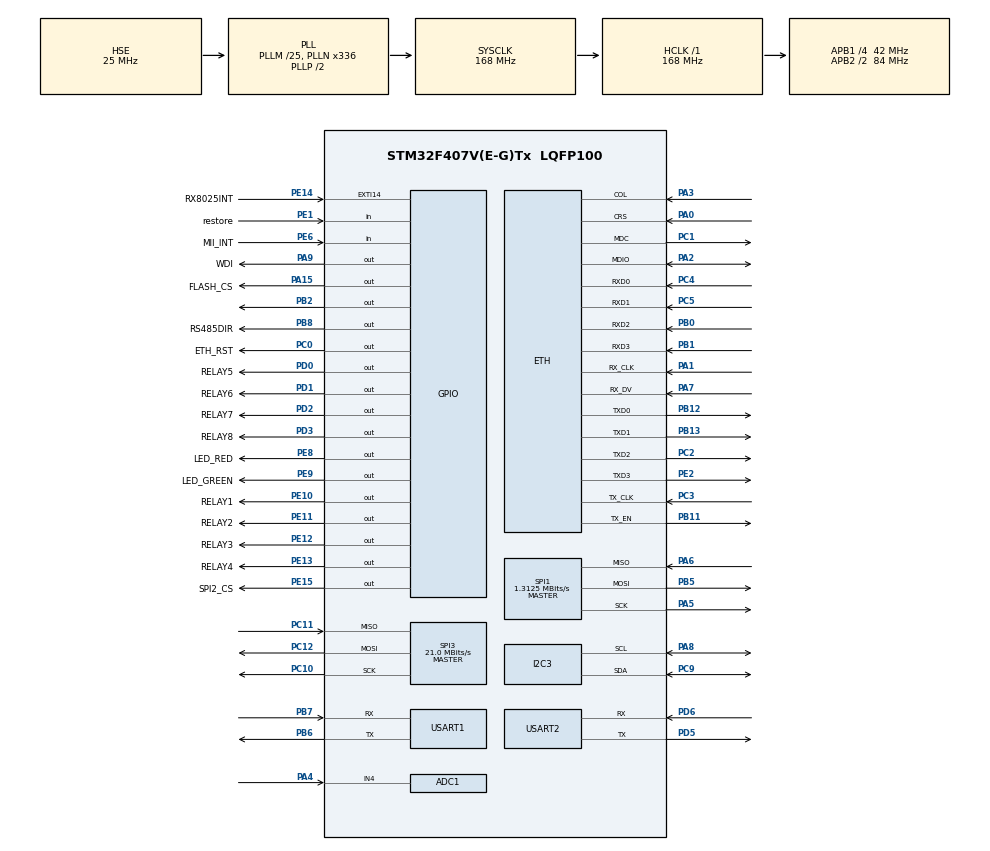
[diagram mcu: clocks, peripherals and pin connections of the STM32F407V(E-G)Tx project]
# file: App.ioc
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ADC1.Channel-0\#ChannelRegularConversion=ADC_CHANNEL_4
ADC1.NbrOfConversionFlag=1
ADC1.Rank-0\#ChannelRegularConversion=1
ADC1.SamplingTime-0\#ChannelRegularConversion=ADC_SAMPLETIME_3CYCLES
ADC1.master=1
Dma.I2C3_RX.3.Direction=DMA_PERIPH_TO_MEMORY
Dma.I2C3_RX.3.FIFOMode=DMA_FIFOMODE_DISABLE
Dma.I2C3_RX.3.Instance=DMA1_Stream2
Dma.I2C3_RX.3.MemDataAlignment=DMA_MDATAALIGN_BYTE
Dma.I2C3_RX.3.MemInc=DMA_MINC_ENABLE
Dma.I2C3_RX.3.Mode=DMA_NORMAL
Dma.I2C3_RX.3.PeriphDataAlignment=DMA_PDATAALIGN_BYTE
Dma.I2C3_RX.3.PeriphInc=DMA_PINC_DISABLE
Dma.I2C3_RX.3.Priority=DMA_PRIORITY_MEDIUM
Dma.I2C3_TX.2.Direction=DMA_MEMORY_TO_PERIPH
Dma.I2C3_TX.2.FIFOMode=DMA_FIFOMODE_DISABLE
Dma.I2C3_TX.2.Instance=DMA1_Stream4
Dma.I2C3_TX.2.MemDataAlignment=DMA_MDATAALIGN_BYTE
Dma.I2C3_TX.2.MemInc=DMA_MINC_ENABLE
Dma.I2C3_TX.2.Mode=DMA_NORMAL
Dma.I2C3_TX.2.PeriphDataAlignment=DMA_PDATAALIGN_BYTE
Dma.I2C3_TX.2.PeriphInc=DMA_PINC_DISABLE
Dma.I2C3_TX.2.Priority=DMA_PRIORITY_MEDIUM
Dma.Request0=USART1_RX
Dma.Request1=USART1_TX
Dma.Request2=I2C3_TX
Dma.Request3=I2C3_RX
Dma.Request4=SPI3_TX
Dma.Request5=SPI3_RX
Dma.SPI3_RX.5.Direction=DMA_PERIPH_TO_MEMORY
Dma.SPI3_RX.5.FIFOMode=DMA_FIFOMODE_DISABLE
Dma.SPI3_RX.5.Instance=DMA1_Stream0
Dma.SPI3_RX.5.MemDataAlignment=DMA_MDATAALIGN_BYTE
Dma.SPI3_RX.5.MemInc=DMA_MINC_ENABLE
Dma.SPI3_RX.5.Mode=DMA_NORMAL
Dma.SPI3_RX.5.PeriphDataAlignment=DMA_PDATAALIGN_BYTE
Dma.SPI3_RX.5.PeriphInc=DMA_PINC_DISABLE
Dma.SPI3_RX.5.Priority=DMA_PRIORITY_LOW
Dma.SPI3_TX.4.Direction=DMA_MEMORY_TO_PERIPH
Dma.SPI3_TX.4.FIFOMode=DMA_FIFOMODE_DISABLE
Dma.SPI3_TX.4.Instance=DMA1_Stream5
Dma.SPI3_TX.4.MemDataAlignment=DMA_MDATAALIGN_BYTE
Dma.SPI3_TX.4.MemInc=DMA_MINC_ENABLE
Dma.SPI3_TX.4.Mode=DMA_NORMAL
Dma.SPI3_TX.4.PeriphDataAlignment=DMA_PDATAALIGN_BYTE
Dma.SPI3_TX.4.PeriphInc=DMA_PINC_DISABLE
Dma.SPI3_TX.4.Priority=DMA_PRIORITY_LOW
Dma.USART1_RX.0.Direction=DMA_PERIPH_TO_MEMORY
Dma.USART1_RX.0.FIFOMode=DMA_FIFOMODE_DISABLE
Dma.USART1_RX.0.Instance=DMA2_Stream2
Dma.USART1_RX.0.MemDataAlignment=DMA_MDATAALIGN_BYTE
Dma.USART1_RX.0.MemInc=DMA_MINC_ENABLE
Dma.USART1_RX.0.Mode=DMA_NORMAL
Dma.USART1_RX.0.PeriphDataAlignment=DMA_PDATAALIGN_BYTE
Dma.USART1_RX.0.PeriphInc=DMA_PINC_DISABLE
Dma.USART1_RX.0.Priority=DMA_PRIORITY_LOW
Dma.USART1_TX.1.Direction=DMA_MEMORY_TO_PERIPH
Dma.USART1_TX.1.FIFOMode=DMA_FIFOMODE_DISABLE
Dma.USART1_TX.1.Instance=DMA2_Stream7
Dma.USART1_TX.1.MemDataAlignment=DMA_MDATAALIGN_BYTE
Dma.USART1_TX.1.MemInc=DMA_MINC_ENABLE
Dma.USART1_TX.1.Mode=DMA_NORMAL
Dma.USART1_TX.1.PeriphDataAlignment=DMA_PDATAALIGN_BYTE
Dma.USART1_TX.1.PeriphInc=DMA_PINC_DISABLE
Dma.USART1_TX.1.Priority=DMA_PRIORITY_LOW
ETH.MACAddr=00\:80\:E1\:00\:00\:50
ETH.MediaInterface=ETH_MEDIA_INTERFACE_MII
ETH.PHY_SR=0x10
FATFS._MAX_SS=4096
FREERTOS.BinarySemaphores01=TIMEBinarySem,Dynamic,NULL
FREERTOS.INCLUDE_vTaskDelayUntil=1
FREERTOS.MEMORY_ALLOCATION=0
FREERTOS.Mutexes01=MBholdingMutex,Dynamic,NULL;sockMutex,Dynamic,NULL
FREERTOS.Queues01=recvQueue,4,uint16_t,0,Dynamic,NULL,NULL;MBQueue,4,uint16_t,0,Dynamic,NULL,NULL;SockQueue,2,struct netconn,0,Dynamic,NULL,NULL;Rs485Queue,4,uint16_t,0,Dynamic,NULL,NULL
FREERTOS.Tasks01=defaultTask,2,256,StartDefaultTask,Default,NULL,Dynamic,NULL,NULL;monitorTask,-1,128,Monitor,Default,NULL,Dynamic,NULL,NULL;periodTask,0,512,Period,Default,NULL,Dynamic,NULL,NULL;MQTTTask,1,512,MQTT_clien,Default,NULL,Dynamic,NULL,NULL;MQTTCallTask,0,256,MQTTCall,Default,NULL,Dynamic,NULL,NULL;upgreadTask,2,2048,Upgread,Default,NULL,Dynamic,NULL,NULL;FindMeTask,1,512,FindMe,Default,NULL,Dynamic,NULL,NULL;serverTask,1,512,Sockserver,Default,NULL,Dynamic,NULL,NULL;sockconnTask,0,384,sockconnection,Default,NULL,Dynamic,NULL,NULL;sock485Task,1,512,sock485,Default,NULL,Dynamic,NULL,NULL
FREERTOS.configTOTAL_HEAP_SIZE=61440
I2C3.I2C_Mode=I2C_Fast
IWDG.Prescaler=IWDG_PRESCALER_64
IWDG.Reload=3000
LWIP.GATEWAY_ADDRESS=192.168.001.001
LWIP.IP_ADDRESS=192.168.001.090
LWIP.LWIP_DBG_MIN_LEVEL=LWIP_DBG_LEVEL_ALL
LWIP.LWIP_DHCP=1
LWIP.LWIP_DNS=1
LWIP.LWIP_NETIF_LINK_CALLBACK=1
LWIP.LWIP_SOCKET_OFFSET=0
LWIP.MEM_SIZE=3200
LWIP.NETMASK_ADDRESS=255.255.255.000
LWIP.Version=v2.0.3_Cube
Mcu.Family=STM32F4
Mcu.Name=STM32F407V(E-G)Tx
Mcu.Package=LQFP100
NVIC.DMA1_Stream0_IRQn=true\:6\:0\:true\:false\:true\:true\:false
NVIC.DMA1_Stream2_IRQn=true\:7\:0\:true\:false\:true\:true\:false
NVIC.DMA1_Stream4_IRQn=true\:7\:0\:true\:false\:true\:true\:false
NVIC.DMA1_Stream5_IRQn=true\:6\:0\:true\:false\:true\:true\:false
NVIC.DMA2_Stream2_IRQn=true\:6\:0\:true\:false\:true\:true\:false
NVIC.DMA2_Stream7_IRQn=true\:6\:0\:true\:false\:true\:true\:false
NVIC.ETH_IRQn=true\:5\:0\:false\:false\:true\:true\:false
NVIC.EXTI15_10_IRQn=true\:8\:0\:true\:false\:true\:true\:true
NVIC.I2C3_ER_IRQn=true\:5\:0\:false\:false\:true\:true\:true
NVIC.I2C3_EV_IRQn=true\:5\:0\:false\:false\:true\:true\:true
NVIC.PriorityGroup=NVIC_PRIORITYGROUP_4
NVIC.TIM4_IRQn=true\:0\:0\:false\:false\:true\:false\:false
NVIC.TimeBase=TIM4_IRQn
NVIC.TimeBaseIP=TIM4
NVIC.USART1_IRQn=true\:6\:0\:true\:false\:true\:true\:true
PA0-WKUP.Mode=MII
PA0-WKUP.Signal=ETH_CRS
PA1.Mode=MII
PA1.Signal=ETH_RX_CLK
PA13.Mode=Serial_Wire
PA13.Signal=SYS_JTMS-SWDIO
PA14.Mode=Serial_Wire
PA14.Signal=SYS_JTCK-SWCLK
PA15.GPIO_Label=FLASH_CS
PA15.GPIO_Speed=GPIO_SPEED_FREQ_HIGH
PA15.Signal=GPIO_Output
PA2.Mode=MII
PA2.Signal=ETH_MDIO
PA3.Mode=MII
PA3.Signal=ETH_COL
PA4.Signal=ADCx_IN4
PA5.Mode=Full_Duplex_Master
PA5.Signal=SPI1_SCK
PA6.Mode=Full_Duplex_Master
PA6.Signal=SPI1_MISO
PA7.Mode=MII
PA7.Signal=ETH_RX_DV
PA8.Mode=I2C
PA8.Signal=I2C3_SCL
PA9.GPIO_Label=WDI
PA9.Signal=GPIO_Output
PB0.Mode=MII
PB0.Signal=ETH_RXD2
PB1.Mode=MII
PB1.Signal=ETH_RXD3
PB11.Mode=MII
PB11.Signal=ETH_TX_EN
PB12.Mode=MII
PB12.Signal=ETH_TXD0
PB13.Mode=MII
PB13.Signal=ETH_TXD1
PB2.Signal=GPIO_Output
PB5.Mode=Full_Duplex_Master
PB5.Signal=SPI1_MOSI
PB6.Mode=Asynchronous
PB6.Signal=USART1_TX
PB7.Mode=Asynchronous
PB7.Signal=USART1_RX
PB8.GPIO_Label=RS485DIR
PB8.GPIO_Speed=GPIO_SPEED_FREQ_MEDIUM
PB8.Signal=GPIO_Output
PC0.GPIO_Label=ETH_RST
PC0.Signal=GPIO_Output
PC1.Mode=MII
PC1.Signal=ETH_MDC
PC10.Mode=Full_Duplex_Master
PC10.Signal=SPI3_SCK
PC11.Mode=Full_Duplex_Master
PC11.Signal=SPI3_MISO
PC12.Mode=Full_Duplex_Master
PC12.Signal=SPI3_MOSI
PC2.Mode=MII
PC2.Signal=ETH_TXD2
PC3.Mode=MII
PC3.Signal=ETH_TX_CLK
PC4.Mode=MII
PC4.Signal=ETH_RXD0
PC5.Mode=MII
PC5.Signal=ETH_RXD1
PC9.Mode=I2C
PC9.Signal=I2C3_SDA
PD0.GPIO_Label=RELAY5
PD0.Signal=GPIO_Output
PD1.GPIO_Label=RELAY6
PD1.Signal=GPIO_Output
PD2.GPIO_Label=RELAY7
PD2.Signal=GPIO_Output
PD3.GPIO_Label=RELAY8
PD3.Signal=GPIO_Output
PD5.Mode=Asynchronous
PD5.Signal=USART2_TX
PD6.Mode=Asynchronous
PD6.Signal=USART2_RX
PE1.GPIO_Label=restore
PE1.Signal=GPIO_Input
PE10.GPIO_Label=RELAY1
PE10.Signal=GPIO_Output
PE11.GPIO_Label=RELAY2
PE11.Signal=GPIO_Output
PE12.GPIO_Label=RELAY3
PE12.Signal=GPIO_Output
PE13.GPIO_Label=RELAY4
PE13.Signal=GPIO_Output
PE14.GPIO_Label=RX8025INT
PE14.GPIO_ModeDefaultEXTI=GPIO_MODE_IT_FALLING
PE14.GPIO_PuPd=GPIO_PULLUP
PE14.Signal=GPXTI14
PE15.GPIO_Label=SPI2_CS
PE15.GPIO_Speed=GPIO_SPEED_FREQ_HIGH
PE15.Signal=GPIO_Output
PE2.Mode=MII
PE2.Signal=ETH_TXD3
PE6.GPIO_Label=MII_INT
PE6.Signal=GPIO_Input
PE8.GPIO_Label=LED_RED
PE8.Signal=GPIO_Output
PE9.GPIO_Label=LED_GREEN
PE9.Signal=GPIO_Output
PH0-OSC_IN.Mode=HSE-External-Oscillator
PH0-OSC_IN.Signal=RCC_OSC_IN
PH1-OSC_OUT.Mode=HSE-External-Oscillator
PH1-OSC_OUT.Signal=RCC_OSC_OUT
ProjectManager.HeapSize=0x6000
ProjectManager.StackSize=0x6000
ProjectManager.TargetToolchain=Other Toolchains (GPDSC)
RCC.48MHZClocksFreq_Value=84000000
RCC.AHBFreq_Value=168000000
RCC.APB1CLKDivider=RCC_HCLK_DIV4
RCC.APB1Freq_Value=42000000
RCC.APB1TimFreq_Value=84000000
RCC.APB2CLKDivider=RCC_HCLK_DIV2
RCC.APB2Freq_Value=84000000
RCC.APB2TimFreq_Value=168000000
RCC.CortexFreq_Value=168000000
RCC.HCLKFreq_Value=168000000
RCC.HSE_VALUE=25000000
RCC.HSI_VALUE=16000000
RCC.LSE_VALUE=32768
RCC.PLLM=25
RCC.PLLN=336
RCC.PLLSourceVirtual=RCC_PLLSOURCE_HSE
RCC.SYSCLKFreq_VALUE=168000000
RCC.SYSCLKSource=RCC_SYSCLKSOURCE_PLLCLK
RCC.VCOOutputFreq_Value=336000000
SH.ADCx_IN4.0=ADC1_IN4,IN4
SPI1.BaudRatePrescaler=SPI_BAUDRATEPRESCALER_64
SPI1.CLKPhase=SPI_PHASE_2EDGE
SPI1.CalculateBaudRate=1.3125 MBits/s
SPI1.DataSize=SPI_DATASIZE_16BIT
SPI1.Direction=SPI_DIRECTION_2LINES
SPI1.Mode=SPI_MODE_MASTER
SPI1.VirtualType=VM_MASTER
SPI3.CalculateBaudRate=21.0 MBits/s
SPI3.Direction=SPI_DIRECTION_2LINES
SPI3.Mode=SPI_MODE_MASTER
SPI3.VirtualType=VM_MASTER
USART1.VirtualMode=VM_ASYNC
USART2.VirtualMode=VM_ASYNC
VP_CRC_VS_CRC.Mode=CRC_Activate
VP_FATFS_VS_Generic.Mode=User_defined
VP_FREERTOS_VS_ENABLE.Mode=Enabled
VP_IWDG_VS_IWDG.Mode=IWDG_Activate
VP_LWIP_VS_Enabled.Mode=Enabled
VP_SYS_VS_tim4.Mode=TIM4
board=MBcontrol

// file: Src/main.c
/**
  ******************************************************************************
  * @file           : main.c
  * @brief          : Main program body
  ******************************************************************************
  * This notice applies to any and all portions of this file
  * that are not between comment pairs USER CODE BEGIN and
  * USER CODE END. Other portions of this file, whether
  * inserted by the user or by software development tools
  * are owned by their respective copyright owners.
  *
  * Copyright (c) 2018 STMicroelectronics International N.V.
  * All rights reserved.
  *
  * Redistribution and use in source and binary forms, with or without
  * modification, are permitted, provided that the following conditions are met:
  *
  * 1. Redistribution of source code must retain the above copyright notice,
  *    this list of conditions and the following disclaimer.
  * 2. Redistributions in binary form must reproduce the above copyright notice,
  *    this list of conditions and the following disclaimer in the documentation
  *    and/or other materials provided with the distribution.
  * 3. Neither the name of STMicroelectronics nor the names of other
  *    contributors to this software may be used to endorse or promote products
  *    derived from this software without specific written permission.
  * 4. This software, including modifications and/or derivative works of this
  *    software, must execute solely and exclusively on microcontroller or
  *    microprocessor devices manufactured by or for STMicroelectronics.
  * 5. Redistribution and use of this software other than as permitted under
  *    this license is void and will automatically terminate your rights under
  *    this license.
  *
  * THIS SOFTWARE IS PROVIDED BY STMICROELECTRONICS AND CONTRIBUTORS "AS IS"
  * AND ANY EXPRESS, IMPLIED OR STATUTORY WARRANTIES, INCLUDING, BUT NOT
  * LIMITED TO, THE IMPLIED WARRANTIES OF MERCHANTABILITY, FITNESS FOR A
  * PARTICULAR PURPOSE AND NON-INFRINGEMENT OF THIRD PARTY INTELLECTUAL PROPERTY
  * RIGHTS ARE DISCLAIMED TO THE FULLEST EXTENT PERMITTED BY LAW. IN NO EVENT
  * SHALL STMICROELECTRONICS OR CONTRIBUTORS BE LIABLE FOR ANY DIRECT, INDIRECT,
  * INCIDENTAL, SPECIAL, EXEMPLARY, OR CONSEQUENTIAL DAMAGES (INCLUDING, BUT NOT
  * LIMITED TO, PROCUREMENT OF SUBSTITUTE GOODS OR SERVICES; LOSS OF USE, DATA,
  * OR PROFITS; OR BUSINESS INTERRUPTION) HOWEVER CAUSED AND ON ANY THEORY OF
  * LIABILITY, WHETHER IN CONTRACT, STRICT LIABILITY, OR TORT (INCLUDING
  * NEGLIGENCE OR OTHERWISE) ARISING IN ANY WAY OUT OF THE USE OF THIS SOFTWARE,
  * EVEN IF ADVISED OF THE POSSIBILITY OF SUCH DAMAGE.
  *
  ******************************************************************************
  */
#include "main.h"
#include "stm32f4xx_hal.h"
#include "cmsis_os.h"
#include "adc.h"
#include "crc.h"
#include "dma.h"
#include "fatfs.h"
#include "i2c.h"
#include "iwdg.h"
#include "lwip.h"
#include "spi.h"
#include "usart.h"
#include "gpio.h"

/* USER CODE BEGIN Includes */
#include "w25qxx.h"
/* USER CODE END Includes */

/* USER CODE BEGIN PV */
/* Private variables ---------------------------------------------------------*/

/* USER CODE END PV */

void SystemClock_Config(void);
void MX_FREERTOS_Init(void);

/* USER CODE BEGIN PFP */
/* Private function prototypes -----------------------------------------------*/

/* USER CODE END PFP */

/* USER CODE BEGIN 0 */
#ifdef __GNUC__
/* With GCC, small printf (option LD Linker->Libraries->Small printf
   set to 'Yes') calls __io_putchar() */
#define PUTCHAR_PROTOTYPE int __io_putchar(int ch)
#else
#define PUTCHAR_PROTOTYPE int fputc(int ch, FILE *f)
#endif /* __GNUC__ */
/* USER CODE END 0 */

int main(void)
{
  /* USER CODE BEGIN 1 */
	__set_PRIMASK(0);
  /* USER CODE END 1 */

  /* MCU Configuration----------------------------------------------------------*/

  /* Reset of all peripherals, Initializes the Flash interface and the Systick. */
  HAL_Init();

  /* Configure the system clock */
  SystemClock_Config();

  /* Initialize all configured peripherals */
  MX_GPIO_Init();
  MX_DMA_Init();
  MX_USART1_UART_Init();
  MX_CRC_Init();
  MX_I2C3_Init();
  MX_USART2_UART_Init();
  MX_SPI3_Init();
  MX_SPI1_Init();
  MX_ADC1_Init();
  /* USER CODE BEGIN 2 */
//	HAL_GPIO_TogglePin(LED_RED_GPIO_Port, LED_RED_Pin);
//	HAL_Delay(100);
	HAL_GPIO_WritePin(ETH_RST_GPIO_Port, ETH_RST_Pin, GPIO_PIN_SET);
	printf("begin\r\n");
	W25QXX_Init();

  /* USER CODE END 2 */

  /* Call init function for freertos objects (in freertos.c) */
  MX_FREERTOS_Init();

  /* Start scheduler */
  osKernelStart();

  /* We should never get here as control is now taken by the scheduler */

  /* Infinite loop */
  while (1)
  {

  }

}

void SystemClock_Config(void)
{

  RCC_OscInitTypeDef RCC_OscInitStruct;
  RCC_ClkInitTypeDef RCC_ClkInitStruct;

    /**Configure the main internal regulator output voltage
    */
  __HAL_RCC_PWR_CLK_ENABLE();

  __HAL_PWR_VOLTAGESCALING_CONFIG(PWR_REGULATOR_VOLTAGE_SCALE1);

    /**Initializes the CPU, AHB and APB busses clocks
    */
  RCC_OscInitStruct.OscillatorType = RCC_OSCILLATORTYPE_LSI|RCC_OSCILLATORTYPE_HSE;
  RCC_OscInitStruct.HSEState = RCC_HSE_ON;
  RCC_OscInitStruct.LSIState = RCC_LSI_ON;
  RCC_OscInitStruct.PLL.PLLState = RCC_PLL_ON;
  RCC_OscInitStruct.PLL.PLLSource = RCC_PLLSOURCE_HSE;
  RCC_OscInitStruct.PLL.PLLM = 25;
  RCC_OscInitStruct.PLL.PLLN = 336;
  RCC_OscInitStruct.PLL.PLLP = RCC_PLLP_DIV2;
  RCC_OscInitStruct.PLL.PLLQ = 4;
  if (HAL_RCC_OscConfig(&RCC_OscInitStruct) != HAL_OK)
  {
    _Error_Handler(__FILE__, __LINE__);
  }

    /**Initializes the CPU, AHB and APB busses clocks
    */
  RCC_ClkInitStruct.ClockType = RCC_CLOCKTYPE_HCLK|RCC_CLOCKTYPE_SYSCLK
                              |RCC_CLOCKTYPE_PCLK1|RCC_CLOCKTYPE_PCLK2;
  RCC_ClkInitStruct.SYSCLKSource = RCC_SYSCLKSOURCE_PLLCLK;
  RCC_ClkInitStruct.AHBCLKDivider = RCC_SYSCLK_DIV1;
  RCC_ClkInitStruct.APB1CLKDivider = RCC_HCLK_DIV4;
  RCC_ClkInitStruct.APB2CLKDivider = RCC_HCLK_DIV2;

  if (HAL_RCC_ClockConfig(&RCC_ClkInitStruct, FLASH_LATENCY_5) != HAL_OK)
  {
    _Error_Handler(__FILE__, __LINE__);
  }

    /**Configure the Systick interrupt time
    */
  HAL_SYSTICK_Config(HAL_RCC_GetHCLKFreq()/1000);

    /**Configure the Systick
    */
  HAL_SYSTICK_CLKSourceConfig(SYSTICK_CLKSOURCE_HCLK);

  /* SysTick_IRQn interrupt configuration */
  HAL_NVIC_SetPriority(SysTick_IRQn, 15, 0);
}

/* USER CODE BEGIN 4 */
/**
  * @brief  Retargets the C library printf function to the USART.
  * @param  None
  * @retval None
  */
PUTCHAR_PROTOTYPE
{
	/* Place your implementation of fputc here */
	/* e.g. write a character to the USART3 and Loop until the end of transmission */
	HAL_GPIO_WritePin(RS485DIR_GPIO_Port, RS485DIR_Pin, GPIO_PIN_SET);
	////	while (HAL_UART_GetState(&huart1) != HAL_UART_STATE_READY)
	////	{
	////	}
		HAL_UART_Transmit(&huart1, (uint8_t *)&ch, 1, 100);
	HAL_GPIO_WritePin(RS485DIR_GPIO_Port, RS485DIR_Pin, GPIO_PIN_RESET);
	return ch;
}
/* USER CODE END 4 */

void HAL_TIM_PeriodElapsedCallback(TIM_HandleTypeDef *htim)
{
  if (htim->Instance == TIM4) {
    HAL_IncTick();
  }
}

void _Error_Handler(char *file, int line)
{
  while(1)
  {
  }
}

/************************ (C) COPYRIGHT STMicroelectronics *****END OF FILE****/

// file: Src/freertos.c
/**
  ******************************************************************************
  * File Name          : freertos.c
  * Description        : Code for freertos applications
  ******************************************************************************
  * This notice applies to any and all portions of this file
  * that are not between comment pairs USER CODE BEGIN and
  * USER CODE END. Other portions of this file, whether
  * inserted by the user or by software development tools
  * are owned by their respective copyright owners.
  *
  * Copyright (c) 2018 STMicroelectronics International N.V.
  * All rights reserved.
  *
  * Redistribution and use in source and binary forms, with or without
  * modification, are permitted, provided that the following conditions are met:
  *
  * 1. Redistribution of source code must retain the above copyright notice,
  *    this list of conditions and the following disclaimer.
  * 2. Redistributions in binary form must reproduce the above copyright notice,
  *    this list of conditions and the following disclaimer in the documentation
  *    and/or other materials provided with the distribution.
  * 3. Neither the name of STMicroelectronics nor the names of other
  *    contributors to this software may be used to endorse or promote products
  *    derived from this software without specific written permission.
  * 4. This software, including modifications and/or derivative works of this
  *    software, must execute solely and exclusively on microcontroller or
  *    microprocessor devices manufactured by or for STMicroelectronics.
  * 5. Redistribution and use of this software other than as permitted under
  *    this license is void and will automatically terminate your rights under
  *    this license.
  *
  * THIS SOFTWARE IS PROVIDED BY STMICROELECTRONICS AND CONTRIBUTORS "AS IS"
  * AND ANY EXPRESS, IMPLIED OR STATUTORY WARRANTIES, INCLUDING, BUT NOT
  * LIMITED TO, THE IMPLIED WARRANTIES OF MERCHANTABILITY, FITNESS FOR A
  * PARTICULAR PURPOSE AND NON-INFRINGEMENT OF THIRD PARTY INTELLECTUAL PROPERTY
  * RIGHTS ARE DISCLAIMED TO THE FULLEST EXTENT PERMITTED BY LAW. IN NO EVENT
  * SHALL STMICROELECTRONICS OR CONTRIBUTORS BE LIABLE FOR ANY DIRECT, INDIRECT,
  * INCIDENTAL, SPECIAL, EXEMPLARY, OR CONSEQUENTIAL DAMAGES (INCLUDING, BUT NOT
  * LIMITED TO, PROCUREMENT OF SUBSTITUTE GOODS OR SERVICES; LOSS OF USE, DATA,
  * OR PROFITS; OR BUSINESS INTERRUPTION) HOWEVER CAUSED AND ON ANY THEORY OF
  * LIABILITY, WHETHER IN CONTRACT, STRICT LIABILITY, OR TORT (INCLUDING
  * NEGLIGENCE OR OTHERWISE) ARISING IN ANY WAY OUT OF THE USE OF THIS SOFTWARE,
  * EVEN IF ADVISED OF THE POSSIBILITY OF SUCH DAMAGE.
  *
  ******************************************************************************
  */

#include "FreeRTOS.h"
#include "task.h"
#include "cmsis_os.h"

/* USER CODE BEGIN Includes */
/* ------------------------ LWIP includes --------------------------------- */
#include "lwip/api.h"
#include "lwip/tcpip.h"
#include "lwip/memp.h"
#include "lwip/sockets.h"
#include "lwip/netdb.h"
#include "lwip.h"
#include "netif/ethernet.h"
#include "app_ethernet.h"
/* ------------------------ FreeModbus includes --------------------------- */
#include "mb.h"
#include "mbcrc.h"
/* ------------------------ Project includes ------------------------------ */
#include "stm32f4xx_nucleo_144.h"
#include "usart.h"
#include "gpio.h"
#include "iwdg.h"
#include "crc.h"
#include "iwdg.h"

#include <string.h>
/* ------------------------ upgrade includes --------------------------- */
#include "myiap.h"
#include "fatfs.h"
/* ------------------------ MQTT includes --------------------------- */
#include "MQTTClient.h"
#include "mqttjson.h"
/* ------------------------ user includes --------------------------- */
#include "DAC.h"
#include "R8025t.h"
#include "Relay.h"
#include "ADS1230.h"
#include "w25q16.h"
#include "w25qxx.h"
#include "cat1023.h"
#include "BoxAPI.h"
#include "log.h"
#include "common.h"
/* ------------------------ set includes --------------------------- */
#include "recod.h"
/* USER CODE END Includes */

osThreadId defaultTaskHandle;
osThreadId monitorTaskHandle;
osThreadId periodTaskHandle;
osThreadId MQTTTaskHandle;
osThreadId MQTTCallTaskHandle;
osThreadId upgreadTaskHandle;
osThreadId FindMeTaskHandle;
osThreadId serverTaskHandle;
osThreadId sockconnTaskHandle;
osThreadId sock485TaskHandle;
osMessageQId recvQueueHandle;
osMessageQId MBQueueHandle;
osMessageQId SockQueueHandle;
osMessageQId Rs485QueueHandle;
osMutexId MBholdingMutexHandle;
osMutexId sockMutexHandle;
osSemaphoreId TIMEBinarySemHandle;

void StartDefaultTask(void const *argument);
void Monitor(void const *argument);
void Period(void const *argument);
void MQTT_clien(void const *argument);
void MQTTCall(void const *argument);
void Upgread(void const *argument);
void FindMe(void const *argument);
void Sockserver(void const *argument);
void sockconnection(void const *argument);
void sock485(void const *argument);

extern void MX_FATFS_Init(void);
void MX_FREERTOS_Init(void); /* (MISRA C 2004 rule 8.1) */

/* USER CODE BEGIN FunctionPrototypes */
#define cleinlent 3
#define RS485buflen  128
struct netconn *newconnbuff[cleinlent];
uint8_t mqttstatus = 0;
int B3socket_read(int sock, unsigned char *buffer, int len, int timeout_ms);
/* USER CODE END FunctionPrototypes */
/* Hook prototypes */

/* Init FreeRTOS */

void MX_FREERTOS_Init(void)
{

	/* Create the mutex(es) */
	/* definition and creation of MBholdingMutex */
	osMutexDef(MBholdingMutex);
	MBholdingMutexHandle = osMutexCreate(osMutex(MBholdingMutex));

	/* definition and creation of sockMutex */
	osMutexDef(sockMutex);
	sockMutexHandle = osMutexCreate(osMutex(sockMutex));

	/* Create the semaphores(s) */
	/* definition and creation of TIMEBinarySem */
	osSemaphoreDef(TIMEBinarySem);
	TIMEBinarySemHandle = osSemaphoreCreate(osSemaphore(TIMEBinarySem), 1);

	/* Create the thread(s) */
	/* definition and creation of defaultTask */
	osThreadDef(defaultTask, StartDefaultTask, osPriorityHigh, 0, 256);
	defaultTaskHandle = osThreadCreate(osThread(defaultTask), NULL);

	/* definition and creation of monitorTask */
	osThreadDef(monitorTask, Monitor, osPriorityBelowNormal, 0, 128);
	monitorTaskHandle = osThreadCreate(osThread(monitorTask), NULL);

	/* definition and creation of periodTask */
	osThreadDef(periodTask, Period, osPriorityNormal, 0, 512);
	periodTaskHandle = osThreadCreate(osThread(periodTask), NULL);

	/* definition and creation of MQTTTask */
	osThreadDef(MQTTTask, MQTT_clien, osPriorityAboveNormal, 0, 512);
	MQTTTaskHandle = osThreadCreate(osThread(MQTTTask), NULL);

	/* definition and creation of MQTTCallTask */
	osThreadDef(MQTTCallTask, MQTTCall, osPriorityNormal, 0, 256);
	MQTTCallTaskHandle = osThreadCreate(osThread(MQTTCallTask), NULL);

	/* definition and creation of upgreadTask */
	//  osThreadDef(upgreadTask, Upgread, osPriorityHigh, 0, 2048);
	//  upgreadTaskHandle = osThreadCreate(osThread(upgreadTask), NULL);

	/* definition and creation of FindMeTask */
	osThreadDef(FindMeTask, FindMe, osPriorityAboveNormal, 0, 512);
	FindMeTaskHandle = osThreadCreate(osThread(FindMeTask), NULL);

	/* definition and creation of serverTask */
	osThreadDef(serverTask, Sockserver, osPriorityAboveNormal, 0, 512);
	serverTaskHandle = osThreadCreate(osThread(serverTask), NULL);

	/* definition and creation of sockconnTask */
	osThreadDef(sockconnTask, sockconnection, osPriorityNormal, 0, 384);
	sockconnTaskHandle = osThreadCreate(osThread(sockconnTask), NULL);

	/* definition and creation of sock485Task */
	osThreadDef(sock485Task, sock485, osPriorityAboveNormal, 0, 512);
	sock485TaskHandle = osThreadCreate(osThread(sock485Task), NULL);

	/* Create the queue(s) */
	/* definition and creation of recvQueue */
	/* what about the sizeof here??? cd native code */
	osMessageQDef(recvQueue, 4, uint16_t);
	recvQueueHandle = osMessageCreate(osMessageQ(recvQueue), NULL);

	/* definition and creation of MBQueue */
	/* what about the sizeof here??? cd native code */
	osMessageQDef(MBQueue, 4, uint16_t);
	MBQueueHandle = osMessageCreate(osMessageQ(MBQueue), NULL);

	/* definition and creation of SockQueue */
	/* what about the sizeof here??? cd native code */
	//  osMessageQDef(SockQueue, 2, struct netconn);
	//  SockQueueHandle = osMessageCreate(osMessageQ(SockQueue), NULL);
	//
	//  /* definition and creation of Rs485Queue */
	///* what about the sizeof here??? cd native code */
	//  osMessageQDef(Rs485Queue, 4, uint16_t);
	//  Rs485QueueHandle = osMessageCreate(osMessageQ(Rs485Queue), NULL);

	/* USER CODE BEGIN RTOS_QUEUES */
	/* add queues, ... */

	/* definition and creation of Rs485Queue */
	/* what about the sizeof here??? cd native code */
	osMessageQDef(Rs485Queue, 2, sizeof(RS485_MSG_T));
	Rs485QueueHandle = osMessageCreate(osMessageQ(Rs485Queue), NULL);
	/* definition and creation of SockQueue */
	/* what about the sizeof here??? cd native code */
	osMessageQDef(SockQueue, 2, sizeof(struct netconn));
	SockQueueHandle = osMessageCreate(osMessageQ(SockQueue), NULL);

	/* USER CODE END RTOS_QUEUES */
}
//uint8_t Write_test[256] = "45678654423456;kp[i[piopioputorwutiwutiueoiutiom,l3443u590387095782095902750729435 ";
//uint8_t Read_test[256] = {0};
/* StartDefaultTask function */
void StartDefaultTask(void const *argument)
{
	/* init code for FATFS */
	MX_FATFS_Init();

	/* USER CODE BEGIN StartDefaultTask */
	//I2C_EEPROM_WriteBuffer((512 + 496), (uint8_t *)Write_test, 100);
	//I2C_EEPROM_ReadBuffer((512 + 496), (uint8_t *)Read_test, 100);
	//printf((char *)Read_test);
	//printf("\r\n");
	loadDHCPset(&dhcp_flage);
	loadipar(NULL, NULL, NULL);
	//dhcp_flage = 1;
	/* Create tcp_ip stack thread */
	tcpip_init(NULL, NULL);
	/* Initialize the LwIP stack */
	Netif_Config();
	//	/* Initialize webserver demo */
	////	http_server_netconn_init();

	/* Notify user about the network interface config */
	User_notification(&gnetif);
	Init8025();
	/* Start DHCPClient */
	if (dhcp_flage)
	{
		osThreadDef(DHCP, DHCP_thread, osPriorityBelowNormal, 0, configMINIMAL_STACK_SIZE * 2);
		osThreadCreate(osThread(DHCP), &gnetif);
	}
	/* Infinite loop */
	for (;;)
	{
		osThreadTerminate(NULL);
		osDelay(1);
	}
	/* USER CODE END StartDefaultTask */
}

/* Monitor function */
void Monitor(void const *argument)
{
	/* USER CODE BEGIN Monitor */
	static portTickType xLastWakeTime;
	const portTickType xFrequency = pdMS_TO_TICKS(4000);

	xLastWakeTime = xTaskGetTickCount();
	/* Infinite loop */
	for (;;)
	{
		//			  HAL_GPIO_TogglePin(WDI_GPIO_Port, WDI_Pin);
		//  HAL_GPIO_TogglePin(LED_GREEN_GPIO_Port, LED_GREEN_Pin);
		//		  rede_adc();
		//

		HAL_IWDG_Refresh(&hiwdg);
		vTaskDelayUntil(&xLastWakeTime, xFrequency);
	}
	//  /* Infinite loop */
	//  for(;;)
	//  {
	//	  BSP_LED_Toggle(LED_GREEN);
	//    osDelay(1000);
	//  }
	/* USER CODE END Monitor */
}

/* Period function */
void Period(void const *argument)
{
	/* USER CODE BEGIN Period */
	STDATETIME time;
	uint8_t time_buf[15];
	uint8_t flage[26];
	uint16_t dac;
	uint8_t modeflage;
	BaseType_t xResult;
	uint8_t restoretime;
	char pcWriteBuffer[500];
#define COUNTOF(__BUFFER__) (sizeof(__BUFFER__) / sizeof(*(__BUFFER__)))
	//	I2C_EEPROM_ReadBuffer(EE_timeaddr, time_buf, 48);
	//	//
	//	I2C_EEPROM_ReadBuffer(EE_timeflageaddr, flage, 24);
	//	//	for (u_int8_t i = 0; i < 24; i++)
	//	//	{
	//	//		printf("dac%2d:%d  ", i, flage[i]);
	//	//	}
	//	I2C_EEPROM_ReadBuffer(EE_modeflageaddr, &modeflage, 1);
	//	printf("mode:%d\n", modeflage);
	restoretime = 0;

	/* Infinite loop */
	for (;;)
	{
		xResult = xSemaphoreTake(TIMEBinarySemHandle, (TickType_t)portMAX_DELAY);
		if (xResult == pdTRUE)
		{
			BSP_LED_On(LED_GREEN);
			//BSP_LED_Toggle(LED_GREEN);
			if (HAL_GPIO_ReadPin(restore_GPIO_Port, restore_Pin) == 0)
			{
				restoretime++;
				if (restoretime > 3)
				{
					restoretime = 0;
					HAL_GPIO_WritePin(LED_GREEN_GPIO_Port, LED_GREEN_Pin, GPIO_PIN_SET);
					HAL_GPIO_WritePin(LED_RED_GPIO_Port, LED_RED_Pin, GPIO_PIN_SET);
					//				  while (!HAL_GPIO_ReadPin(restore_GPIO_Port, restore_Pin))
					//				  {
					//					  osDelay(10);
					//				  }
					restory();
				}
			}
			else
			{
				restoretime = 0;
			}
			HAL_GPIO_TogglePin(WDI_GPIO_Port, WDI_Pin);
			UpdateDateTime(&time);
			if (modeflage == 0)
			{
				if (time.minute == 0)
				{
					if (flage[time.hour] == 1)
					{
						dac = (uint16_t)((time_buf[time.hour * 2] << 8) | time_buf[(time.hour * 2) + 1]);

						printf("time:%d dac:%d  \n", time.hour, dac);
						if (dac > 1000)
						{
							dac = 1000;
						}
						dac = dac * 3.055f;
						if (dac > 3055)
							dac = 3055;
						spi1_dac_write_chb(dac);
						spi1_dac_write_cha(dac);
					}
				}
			}
		}
		else
		{
			/* 失败 */
		}
		//		vTaskList((char *)&pcWriteBuffer);
					  //  printf("任务�?     任务状�??	优先�?	 剩余�? 	任务序号\r\n");
		//			  printf("%s\r\n", pcWriteBuffer);
		//	  	  sprintf((char *)time_buf,
		//	  		  "%04d-%02d-%02d %02d:%02d:%02d",
		//	  		  time.year + 2000,
		//	  		  time.month,
		//	  		  time.day,
		//	  		  time.hour,
		//	  		  time.minute,
		//	  		  time.second);
		//
		//	  	  printf("%s\n", time_buf);
		osDelay(50);
		BSP_LED_Off(LED_GREEN);
	}
	/* USER CODE END Period */
}

/* MQTT_clien function */
void MQTT_clien(void const *argument)
{
	/* USER CODE BEGIN MQTT_clien */

	MQTTClient client;
	Network network;
	unsigned char sendbuf[80], readbuf[80];
	int rc = 0;
	MQTTPacket_connectData connectData = MQTTPacket_connectData_initializer;
	argument = 0;
	char address[30] = {0};
	uint16_t port = 0;
	uint8_t mqttlock = 0;
	loadMQTTpar(&mqttlock, address, &port);
	if (mqttlock == 0)
	{
		for (;;)
		{
			vTaskDelete(NULL);
			osDelay(10);
		}
	}
	NetworkInit(&network);
	MQTTClientInit(&client, &network, 30000, sendbuf, sizeof(sendbuf), readbuf, sizeof(readbuf));
	/* Infinite loop */
	for (;;)
	{
		//	char* address = "45.40.243.84";
		if ((rc = NetworkConnect(&network, address, port)) != 0)
			printf("Return code from network connect is %d\n", rc);
#if defined(MQTT_TASK)
		if ((rc = MQTTStartTask(&client)) != pdPASS)
			printf("Return code from start tasks is %d\n", rc);
#endif
		connectData.MQTTVersion = 3;
		connectData.clientID.cstring = "mqtt1test";
		connectData.keepAliveInterval = 10; //seconds
											// connectData.cleansession = 1;
		connectData.username.cstring = "";
		connectData.password.cstring = "";

		if ((rc = MQTTConnect(&client, &connectData)) != 0)
			printf("Return code from MQTT connect is %d\n", rc);
		else
			printf("MQTT Connected\n");

		if ((rc = MQTTSubscribe(&client, "test", 2, NULL)) != 0)
			printf("Return code from MQTT subscribe is %d\n", rc);
		/* Infinite loop */
		for (;;)
		{

			MQTTMessage message;
			//			if (xQueueReceive(MBQueueHandle, &mylog, 10) == pdPASS)
			//			{
			//				printf("log:%s", mylog);
			////				char payload[128];
			//				message.qos = 1;
			//				message.retained = 0;
			//				message.payload = mylog;
			//				//  sprintf(payload, "message number %d", count);
			//				  message.payloadlen = strlen(mylog);
			//		  				if ((rc = MQTTPublish(&client, "log", &message)) != 0)
			//					printf("Return code from MQTT publish is %d\n", rc);
			//			}
			if ((rc = MQTTYield(&client, 100)) != 0)
			{
				printf("Return code from yield is %d\n", rc);
				mqttstatus = 0;
				close(network.my_socket);
				break;
			}
			mqttstatus = 1;
			osDelay(10);
		}
		osDelay(1000);
	}
	/* USER CODE END MQTT_clien */
}

/* MQTTCall function */
void MQTTCall(void const *argument)
{
	for (;;)
	{
		osDelay(1);
	}
}

/* Upgread function */
void Upgread(void const *argument)
{
	/* USER CODE BEGIN Upgread */
	int upsocket;
	char address[30] = {0};
	uint16_t port = 0;

	uint8_t workBuffer[_MAX_SS];
	uint8_t recoon = 10;
	retUSER = f_mkfs((TCHAR const *)USERPath, FM_ANY, 0, workBuffer, sizeof(workBuffer));

	retUSER = f_mount(NULL, (TCHAR const *)USERPath, 0);
	retUSER = f_mount(&USERFatFS, (TCHAR const *)USERPath, 0);

	loaduppar(address, &port);
	/* Infinite loop */
	for (;;)
	{
		HAL_GPIO_TogglePin(WDI_GPIO_Port, WDI_Pin);
		while (recoon > 0)
		{
			if ((socketConnect(&upsocket, address, port)) >= 0)
			{
				if (IAP_upgread(upsocket) <= 0)
				{
					close(upsocket);
					//	break ;
				}
				else
				{
					break;
				}
			}
			osDelay(900);
			HAL_GPIO_TogglePin(WDI_GPIO_Port, WDI_Pin);
			recoon--;
		}
		f_unlink(DownloadFile);
		__set_FAULTMASK(1);
		HAL_NVIC_SystemReset();
		while (1)
		{
			osDelay(100);
		}
	}
	/* USER CODE END Upgread */
}

/* FindMe function */
void FindMe(void const *argument)
{
	/* USER CODE BEGIN FindMe */
	__I uint8_t nomcorrect[9] = {0x09, (returnid + 1), 0x63, 0x6f, 0x72, 0x72, 0x65, 0x63, 0x74};
	__I uint8_t mqttcorrect[9] = {0x09, (returnid + 3), 0x63, 0x6f, 0x72, 0x72, 0x65, 0x63, 0x74};
	__I uint8_t savecorrect[9] = {0x09, (returnid + 5), 0x63, 0x6f, 0x72, 0x72, 0x65, 0x63, 0x74};
	__I uint8_t upcorrect[9] = {0x09, (returnid + 6), 0x63, 0x6f, 0x72, 0x72, 0x65, 0x63, 0x74};
	__I uint8_t rebcorrect[9] = {0x09, (returnid + 7), 0x63, 0x6f, 0x72, 0x72, 0x65, 0x63, 0x74};
	__I uint8_t rescorrect[9] = {0x09, (returnid + 8), 0x63, 0x6f, 0x72, 0x72, 0x65, 0x63, 0x74};
	__I uint8_t findme[6] = {"FindB3"};
	__I uint8_t readmqtt[10] = {"ReadB3mqtt"};
	__I uint8_t readsta[12] = {"ReadB3status"};
	__I uint8_t save[13] = {"Saveparameter"};
	__I uint8_t upgrade[12] = {"UpgradeB3"};
	__I uint8_t rebootb3[13] = {"RebootB3admin"};
	__I uint8_t restoreb3[14] = {"RestoreB3admin"};
	__I uint8_t correct[7] = {"correct"};

	uint32_t HWCRCValue = 0;
	uint32_t RVCRCValue = 0;
	unsigned char rec_buffer[200] = {0};
	uint8_t parameter[200];
	uint8_t ipaddrbuff[62];
	uint8_t saveipflage = 0;
	uint8_t upgradeflage = 0;
	//unsigned char UDP_Server_SendBuf[RCV_BUFFER_LEN] = { "hello" };
	LWIP_UNUSED_ARG(argument);
	uint8_t optval = 1;
	struct sockaddr_in server, client;
	int socket, RecvLen;
	socklen_t length = sizeof(struct sockaddr);
	ip_addr_t LocalIP;

	memset(&server, 0, sizeof(struct sockaddr_in));
	server.sin_family = AF_INET;
	server.sin_port = htons(1992);
	server.sin_addr.s_addr = htonl(INADDR_ANY);
	socket = socket(AF_INET, SOCK_DGRAM, 0);
	setsockopt(socket, SOL_SOCKET, SO_BROADCAST, (void *)&optval, sizeof(uint8_t));
	bind(socket, (struct sockaddr *)&server, sizeof(server));
	/* Infinite loop */
	for (;;)
	{
		//mac
		memset(rec_buffer, 0, 200);
		memset(parameter, 0, 200);
		HWCRCValue = 0;
		RVCRCValue = 0;
		RecvLen = recvfrom(socket, rec_buffer, sizeof(rec_buffer), 0, (struct sockaddr *)&client, &length); //
		if (RecvLen > 0)
		{
			if (strncmp((char *)rec_buffer, (char *)findme, RecvLen) == 0) //findme ok
			{
				loadpar(parameter);
				sendto(socket, parameter, 72, 0, (struct sockaddr *)&client, length);
			}
			else if (strncmp((char *)rec_buffer, (char *)readmqtt, RecvLen) == 0) //mqtt ok
			{
				loadparmqttbuf(parameter);
				sendto(socket, parameter, 135, 0, (struct sockaddr *)&client, length);
			}
			else if (strncmp((char *)rec_buffer, (char *)readsta, RecvLen) == 0) //status ok
			{
				loadtime(parameter);
				sendto(socket, parameter, 34, 0, (struct sockaddr *)&client, length);
			}
			else if (strncmp((char *)rec_buffer, (char *)save, RecvLen) == 0) //save  ok
			{
				msg_info("save\r\n");
				if (saveipflage)
				{
					savepar(ipaddrbuff);
					memset(ipaddrbuff, 0, 62);
					saveipflage = 0;
					sendto(socket, (uint8_t *)savecorrect, 9, 0, (struct sockaddr *)&client, length);
				}
				else
					sendto(socket, (uint8_t *)"error", 5, 0, (struct sockaddr *)&client, length);
			}
			else if (strncmp((char *)rec_buffer, (char *)upgrade, RecvLen) == 0) //upgrade
			{
				msg_info("upgrade");
					if (upgradeflage==0)
					{
						upgradeflage = 1;
						sendto(socket, (uint8_t *)upcorrect, 9, 0, (struct sockaddr *)&client, length);
						osDelay(10);
						/* definition and creation of upgreadTask */
						osThreadDef(upgreadTask, Upgread, osPriorityHigh, 0, 2048);
						upgreadTaskHandle = osThreadCreate(osThread(upgreadTask), NULL);
					}
			}
			else if (strncmp((char *)rec_buffer, (char *)rebootb3, RecvLen) == 0) //reboot ok
			{
					msg_info("reboot\r\n");
					sendto(socket, (uint8_t *)rebcorrect, 9, 0, (struct sockaddr *)&client, length);
					__set_FAULTMASK(1);
					HAL_NVIC_SystemReset();
			}
			else if (strncmp((char *)rec_buffer, (char *)restoreb3, RecvLen) == 0) //restore
			{
				msg_info("restore\r\n");
				//	sendto(socket, (uint8_t *) rescorrect, 9, 0, (struct sockaddr *)&client, length);
				//W25QXX_Erase_Chip();
				sendto(socket, (uint8_t *)rescorrect, 9, 0, (struct sockaddr *)&client, length);
			}
			else if (RecvLen == setmqttbufflen) //setmqtt ok
			{
				if (rec_buffer[0] == 0x87 && rec_buffer[1] == 0x68)
				{
					HWCRCValue = user_CRC((uint8_t *)rec_buffer, 131);
					RVCRCValue = (rec_buffer[131] << 24 | rec_buffer[132] << 16 | rec_buffer[133] << 8 | rec_buffer[134]);
					if (HWCRCValue == RVCRCValue)
					{
						saveparmqttbuf(rec_buffer);
						sendto(socket, (uint8_t *)mqttcorrect, 9, 0, (struct sockaddr *)&client, length);
					}
				}
			}
			else if (RecvLen == ipsetstastuslen) //setipaddrs ok
			{
				if (rec_buffer[0] == 0x5c && rec_buffer[1] == 0x66)
				{
					msg_info("ipset\r\n");
					HWCRCValue = user_CRC((uint8_t *)rec_buffer, 88);
					RVCRCValue = (rec_buffer[88] << 24 | rec_buffer[89] << 16 | rec_buffer[90] << 8 | rec_buffer[91]);

					if (HWCRCValue == RVCRCValue)
					{
						memcpy(ipaddrbuff, rec_buffer, 62);
						saveipflage = 1;
						sendto(socket, (uint8_t *)nomcorrect, 9, 0, (struct sockaddr *)&client, length);
					}
				}

				//	savepar(rec_buffer);
				//	loadpar(parameter);
				//	sendto(socket, (uint8_t *) parameter, 66, 0, (struct sockaddr *)&client, length);
			}
			else if (RecvLen == setusername) //setusrname ok
			{
				if (strncmp((char *)rec_buffer + 2, (char *)"passwd", 6) == 0)
				{
					msg_info("setname\r\n");
					saveuser((rec_buffer + 8));
					loaduser(parameter);
					sendto(socket, (uint8_t *)parameter, 28, 0, (struct sockaddr *)&client, length);
					//	msg_info("name:%s\r\n", parameter);
				}
			}
			//sendto(socket, parameter, 5, 0, (struct sockaddr *)&client, length);
		}

		osDelay(1);
	}
	/* USER CODE END FindMe */
}

/* Sockserver function */
void Sockserver(void const *argument)
{
	/* USER CODE BEGIN Sockserver */
	struct netconn *conn, *newconn;
	uint8_t conncant = 0, oldconncant = 0;
	err_t err, accept_err;
	BaseType_t xResult;

	struct netbuf *buf;
	void *data;
	u16_t len;

	LWIP_UNUSED_ARG(argument);
	/* Create a new connection identifier. */
	conn = netconn_new(NETCONN_TCP);
	if (conn != NULL)
	{
		/* Bind connection to well known port number 7. */
		err = netconn_bind(conn, NULL, 8088);
		printf("bind\r\n");
		if (err == ERR_OK)
		{
			/* Tell connection to go into listening mode. */
			netconn_listen(conn);
			/* Infinite loop */
			for (;;)
			{
				/* Grab new connection. */
				printf("new\r\n");
				accept_err = netconn_accept(conn, &newconn);
				printf("accept_err:%d\r\n", accept_err);
				//		printf("newconn:%d\r\n",(int)&newconn->write_offset);
				/* Process the new connection. */
				if (accept_err == ERR_OK)
				{
					if (xSemaphoreTake(sockMutexHandle, (TickType_t)200) == pdTRUE)
					{

						for (;;)
						{
							if (newconnbuff[conncant] == 0)
							{
								newconnbuff[conncant] = newconn;
								break;
							}
							conncant++;
							if (conncant >= cleinlent)
							{
								conncant = 0;
								netconn_close(newconnbuff[oldconncant]);
								netconn_delete(newconnbuff[oldconncant]);
								newconnbuff[oldconncant] = 0;
								oldconncant++;
								if (oldconncant >= cleinlent)
								{
									oldconncant = 0;
								}
							}
						}
						xSemaphoreGive(sockMutexHandle);
					}
					else
					{
						osDelay(1);
					}
					osDelay(1);
				}

				//					          while (netconn_recv(newconn, &buf) == ERR_OK)
				//					          {
				//					            do
				//					            {
				//					              netbuf_data(buf, &data, &len);
				//					              netconn_write(newconn, data, len, NETCONN_COPY);
				//
				//					            }
				//					            while (netbuf_next(buf) >= 0);
				//
				//					            netbuf_delete(buf);
				//					          }
				//					//
				//					//          /* Close connection and discard connection identifier. */
				//					          netconn_close(newconn);
				//					          netconn_delete(newconn);
			}
			osDelay(1);
		}
		osDelay(1);
	}
	else
	{
		netconn_delete(newconn);
	}

	/* USER CODE END Sockserver */
}

/* sockconnection function */
void sockconnection(void const *argument)
{
	for (;;)
	{
		osDelay(1);
	}
}

/* sock485 function */
void sock485(void const *argument)
{
	/* USER CODE BEGIN sock485 */
	int rs485socket;
	int ret;
	BaseType_t xResult;

	unsigned char recv_buffer[RS485buflen];

	const TickType_t xMaxBlockTime = pdMS_TO_TICKS(50); /*  wait_time */
	char *address = "192.168.1.113";
	RS485_MSG_T *tcp_c_msg;
	//memset(tcp_c_msg, 0, sizeof(*tcp_c_msg));
	/* Infinite loop */
	for (;;)
	{

		if ((socketConnect(&rs485socket, address, 1993)) >= 0)
		{
			__HAL_UART_ENABLE_IT(&huart1, UART_IT_IDLE);
			__HAL_UART_ENABLE_IT(&huart1, UART_IT_RXNE);
			while (1)
			{
				xResult = xQueueReceive(Rs485QueueHandle,
										(void *)&tcp_c_msg,
										(TickType_t)xMaxBlockTime); /* time */
				if (xResult == pdPASS)
				{
					//  FreeRTOS_write(&network, tcp_c_msg->Data, tcp_c_msg->lengh, 100);
					write(rs485socket, tcp_c_msg->Data, tcp_c_msg->lengh);
					memset(&rs485_MSG, 0, sizeof(rs485_MSG));
				}
				ret = B3socket_read(rs485socket, recv_buffer, RS485buflen, 50);
				if (ret > 0)
				{
					HAL_GPIO_WritePin(RS485DIR_GPIO_Port, RS485DIR_Pin, GPIO_PIN_SET);
					taskENTER_CRITICAL();
					HAL_UART_Transmit(&huart1, recv_buffer, ret, 100); // (strlen((char*)recv_buffer)
					taskEXIT_CRITICAL();
					HAL_GPIO_WritePin(RS485DIR_GPIO_Port, RS485DIR_Pin, GPIO_PIN_RESET);
					memset(recv_buffer, 0, ret);
				}

				else if (ret != -2)
				{
					//				  connectflage = 1;
					__HAL_UART_DISABLE_IT(&huart1, UART_IT_IDLE);
					__HAL_UART_DISABLE_IT(&huart1, UART_IT_RXNE);
					close(rs485socket);
					break;
				}
				osDelay(1);
			}
		}
		osDelay(1000);
	}
	/* USER CODE END sock485 */
}

/* USER CODE BEGIN Application */
int B3socket_read(int sock, unsigned char *buffer, int len, int timeout_ms)
{
	uint8_t myerrno;
	struct timeval interval = {timeout_ms / portTICK_PERIOD_MS / 1000, (timeout_ms % (portTICK_PERIOD_MS * 1000)) * 1000};
	//	if (interval.tv_sec < 0 || (interval.tv_sec == 0 && interval.tv_usec <= 0))
	//	{
	//		interval.tv_sec = 0;
	//		interval.tv_usec = 1000;
	//	}
	setsockopt(sock, SOL_SOCKET, SO_RCVTIMEO, (char *)&interval, sizeof(struct timeval));
	//	setsockopt(n->my_socket, SOL_SOCKET, SO_RCVTIMEO, (char *)&xTicksToWait, sizeof( xTicksToWait));
	//	printf("err:%d", eer);
	//	int bytes = 0;
	//	while (bytes < len)
	//	{
	int rc = recv(sock, buffer, len, 0);
	myerrno = errno;
	if (rc == -1)
	{
		//printf("errno:%d\n", myerrno);
		if (myerrno == EAGAIN || myerrno == EINTR)
			return -2;
		//	else if (errno == EINTR)return -3 ;
		else if (myerrno > 0)
			return 0; //0閺夆晝鍋炵敮鎾棘椤撶偟�??
		else
			return -1;

		//if (errno != ENOTCONN && errno != ECONNRESET)
		//{
		//}
	}
	//		else if (rc == 0) return -1;
	//else if (rc==0) break;
	//		else bytes += rc;
	//	}
	return rc;
}
/* USER CODE END Application */

/************************ (C) COPYRIGHT STMicroelectronics *****END OF FILE****/
